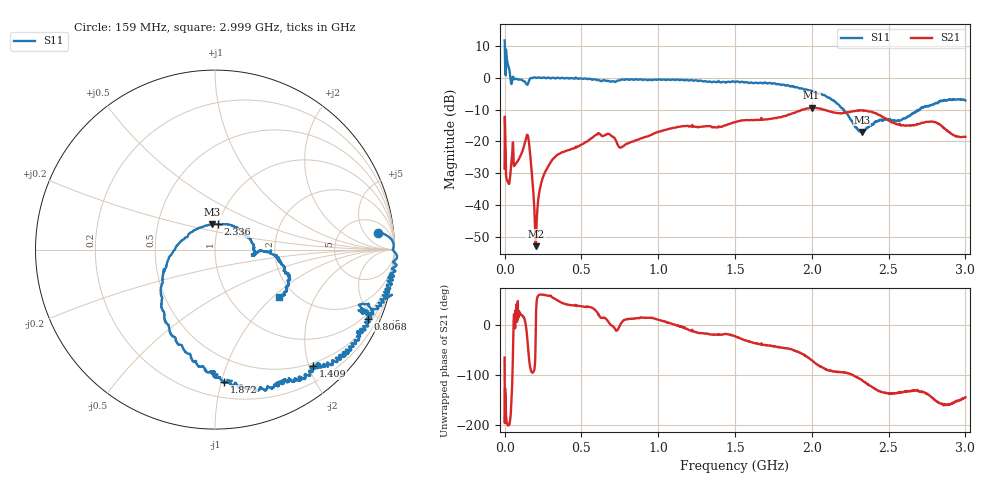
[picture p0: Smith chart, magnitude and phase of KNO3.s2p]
# HZ S RI R 50
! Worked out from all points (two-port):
!   2020 points, 10 kHz to 3 GHz, reference 50 ohm
!   highest |S21| = -9.41 dB at 1.999 GHz (marker M1); lowest = -52.9 dB at 202.1 MHz (marker M2)
!   |S21| within 3 dB of the highest: 1.476 MHz to 1.633 MHz (157.5 kHz wide, 10.1 % of centre); 1.788 GHz to 2.465 GHz (677.7 MHz wide, 31.9 % of centre)
!   lowest |S11| = -17.0 dB at 2.327 GHz (marker M3), VSWR 1.33, Z = 46.6 + j13.3 ohm
!   |S11| at or under -10 dB: 2.207 GHz to 2.703 GHz (496.2 MHz wide, 20.2 % of centre)
!   S12 and S22 are empty: the file has one direction only
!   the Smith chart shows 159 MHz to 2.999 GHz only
!   S11 on the Smith chart (normalised r, x): 159 MHz: 10, +11; 806.8 MHz: 0.75, -4.53; 1.409 GHz: 0.45, -2.08; 1.872 GHz: 0.31, -1.02; 2.336 GHz: 0.99, +0.28; 2.999 GHz: 1.66, -1.09
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10000  2.851 2.618  0.0153 -0.0342  0 0  0 0
1.784055e7  0.1129 1.773  -0.0225 0.00779  0 0  0 0
5.944516e7  0.9631 -0.0333  0.0434 0.00987  0 0  0 0
1.589991e8  0.9082 0.0951  0.0364 -0.087  0 0  0 0
2.020895e8  1.008 -0.0536  0.00207 -0.000899  0 0  0 0
2.407224e8  0.9852 -0.1073  0.0117 0.0201  0 0  0 0
2.956999e8  0.9789 -0.1535  0.0246 0.0382  0 0  0 0
5.007512e8  0.9333 -0.2945  0.0717 0.0532  0 0  0 0
6.107063e8  0.8543 -0.3562  0.1253 0.0479  0 0  0 0
8.068423e8  0.8518 -0.384  0.0923 0.0177  0 0  0 0
1.000007e9  0.8014 -0.5002  0.1396 0.0237  0 0  0 0
1.408623e9  0.5484 -0.6476  0.1586 -0.0584  0 0  0 0
1.500748e9  0.5001 -0.6954  0.184 -0.0789  0 0  0 0
1.872218e9  0.0499 -0.7371  0.1771 -0.2112  0 0  0 0
1.998517e9  -0.1266 -0.6131  0.1115 -0.3195  0 0  0 0
2.000003e9  -0.13 -0.6088  0.1078 -0.3201  0 0  0 0
2.185738e9  -0.2954 -0.1895  -0.0228 -0.2762  0 0  0 0
2.326897e9  -0.0156 0.14  -0.109 -0.2889  0 0  0 0
2.335812e9  0.0154 0.141  -0.1204 -0.2809  0 0  0 0
2.500744e9  0.2202 -0.0292  -0.1557 -0.1477  0 0  0 0
2.998514e9  0.3569 -0.2647  -0.0973 -0.0679  0 0  0 0
3e9  0.3534 -0.2663  -0.0966 -0.0679  0 0  0 0
